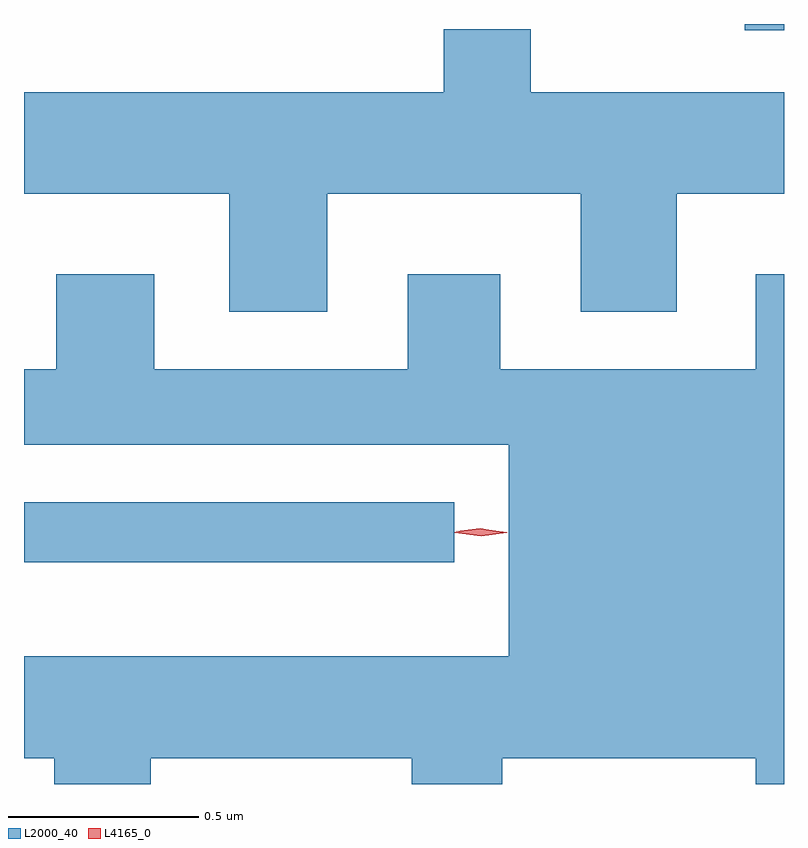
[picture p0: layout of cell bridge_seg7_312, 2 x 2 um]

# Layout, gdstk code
import gdstk
lib = gdstk.Library(unit=1e-6, precision=1e-09)
def R(c, l, rs):  # rectangles x0, y0, x1, y1
    for r in rs: c.add(gdstk.rectangle(r[:2], r[2:], *l))
def P(c, l, *ps):  # polygons
    for p in ps: c.add(gdstk.Polygon(p, *l))
L2000_40 = (2000, 40)
L4165_0 = (4165, 0)

bridge_seg7_312 = lib.new_cell('bridge_seg7_312')
R(bridge_seg7_312, L2000_40, [(1346.936,1777.726,1348.068,1777.884), (1348.833,1779.126,1348.936,1779.143)])
P(bridge_seg7_312, L2000_40, [(1347.734,1778.696),(1348.401,1778.696),(1348.401,1778.386),(1348.654,1778.386),(1348.654,1778.696),(1348.936,1778.696),(1348.936,1778.964),(1348.269,1778.964),(1348.269,1779.129),(1348.041,1779.129),(1348.041,1778.964),(1346.936,1778.964),(1346.936,1778.696),(1347.476,1778.696),(1347.476,1778.386),(1347.734,1778.386)],
  [(1347.269,1777.211),(1347.956,1777.211),(1347.956,1777.143),(1348.194,1777.143),(1348.194,1777.211),(1348.861,1777.211),(1348.861,1777.143),(1348.936,1777.143),(1348.936,1778.484),(1348.861,1778.484),(1348.861,1778.234),(1348.189,1778.234),(1348.189,1778.484),(1347.946,1778.484),(1347.946,1778.234),(1347.279,1778.234),(1347.279,1778.484),(1347.021,1778.484),(1347.021,1778.234),(1346.936,1778.234),(1346.936,1778.036),(1348.211,1778.036),(1348.211,1777.479),(1346.936,1777.479),(1346.936,1777.211),(1347.016,1777.211),(1347.016,1777.143),(1347.269,1777.143)])
P(bridge_seg7_312, L4165_0, [(1348.139,1777.795),(1348.07,1777.804),(1348.07,1777.805),(1348.07,1777.805),(1348.139,1777.815),(1348.207,1777.805),(1348.208,1777.805),(1348.207,1777.804)],
  [(1348.135,1777.796),(1348.073,1777.808),(1348.073,1777.808),(1348.073,1777.808),(1348.136,1777.816),(1348.197,1777.805),(1348.197,1777.805),(1348.197,1777.804)])

lib.write_gds('bridge_seg7_312.gds')
